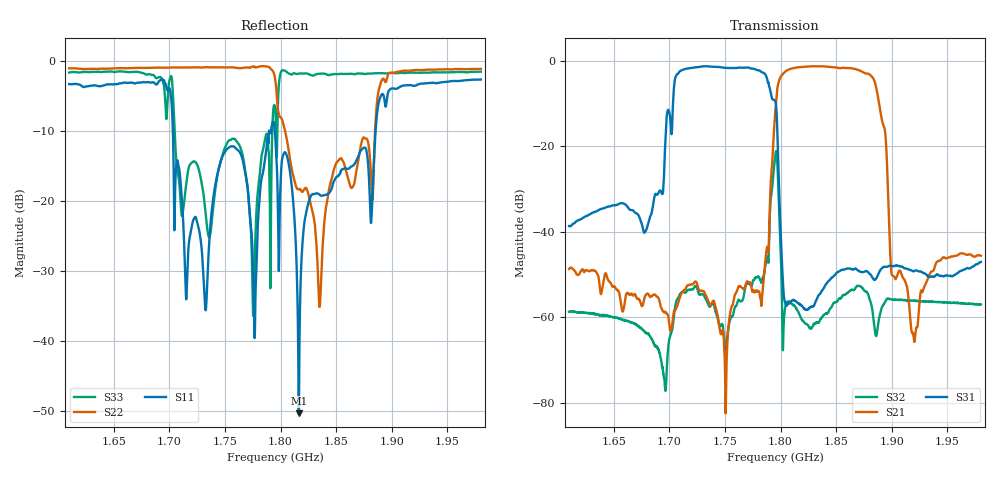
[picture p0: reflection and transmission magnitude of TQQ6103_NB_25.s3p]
! TDS: K:\Engsetup\Winsaw\TQQ6103DS
! Channel 1
! Ports=1 2 3
! FreqRange: 1610.0000,1980.0000
! Points=1601
! FailCode=0
! Topology=ALL_SE(123)
# MHz S DB R 50
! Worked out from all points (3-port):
!   1601 points, 1.61 GHz to 1.98 GHz, reference 50 ohm
!   strongest paths, dB at 1.61 GHz, 1.702 GHz, 1.795 GHz, 1.887 GHz, 1.98 GHz:
!     S31: -38.7, -16.0, -9.4, -50.1, -47.1
!     S21: -48.7, -62.0, -12.7, -8.4, -45.6
!     S32: -58.7, -62.9, -22.7, -62.0, -57.0
!   lowest |S11| = -50.4 dB at 1.816 GHz (marker M1), VSWR 1.01, Z = 49.7 - j0.102 ohm
!   |S11| at or under -10 dB: 1.703 GHz to 1.79 GHz (86.46 MHz wide, 4.95 % of centre); 1.789691 GHz to 1.791586 GHz (1.896 MHz wide, 0.106 % of centre); 1.795 GHz to 1.885 GHz (90.6 MHz wide, 4.92 % of centre)
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1610  -3.34 17.6  -48.71 -158.3  -38.69 127.5
      -48.71 -158.5  -1.10 108.7  -58.69 17.1
      -38.69 127.5  -58.73 17.1  -1.70 106.7
1750.831  -12.83 -44.9  -81.60 53.4  -1.66 -43.4
          -80.39 49.4  -0.96 68.9  -67.81 17.9
          -1.66 -43.4  -67.83 19.1  -12.15 123.9
1783.438  -16.48 -90.6  -55.09 -161.3  -2.73 113.0
          -55.09 -161.4  -0.79 36.2  -51.26 -34.4
          -2.72 113.0  -51.26 -34.1  -13.21 71.4
1795  -10.41 76.2  -12.68 -96.0  -9.36 -80.0
      -12.67 -96.0  -2.53 -11.0  -22.64 172.0
      -9.37 -80.1  -22.65 172.1  -6.69 -24.1
1803.556  -13.11 56.3  -2.70 115.3  -56.12 114.0
          -2.69 115.3  -9.69 -12.3  -58.79 55.5
          -56.11 114.3  -58.77 55.3  -1.42 -90.4
1816.275  -50.39 -160.2  -1.50 12.6  -56.82 93.5
          -1.49 12.6  -18.40 21.6  -59.04 -63.1
          -56.87 94.2  -58.95 -62.2  -1.86 -149.5
1856.513  -15.47 44.6  -1.64 -176.7  -48.92 44.4
          -1.65 -176.8  -14.49 121.1  -54.78 102.1
          -48.94 44.3  -54.82 101.8  -1.89 152.7
1883.8  -14.75 -145.5  -4.36 -7.1  -51.18 36.6
        -4.36 -7.0  -14.88 -136.0  -61.06 16.2
        -51.23 36.4  -61.22 16.4  -1.80 136.7
1919.181  -3.60 65.3  -64.04 -2.5  -49.26 43.1
          -64.15 -2.2  -1.35 129.1  -56.12 36.4
          -49.27 43.1  -56.16 36.6  -1.70 122.7
1980  -2.69 6.7  -45.63 168.1  -47.08 97.3
      -45.62 167.9  -1.18 101.3  -57.04 15.4
      -47.08 97.5  -57.02 15.1  -1.57 106.4
